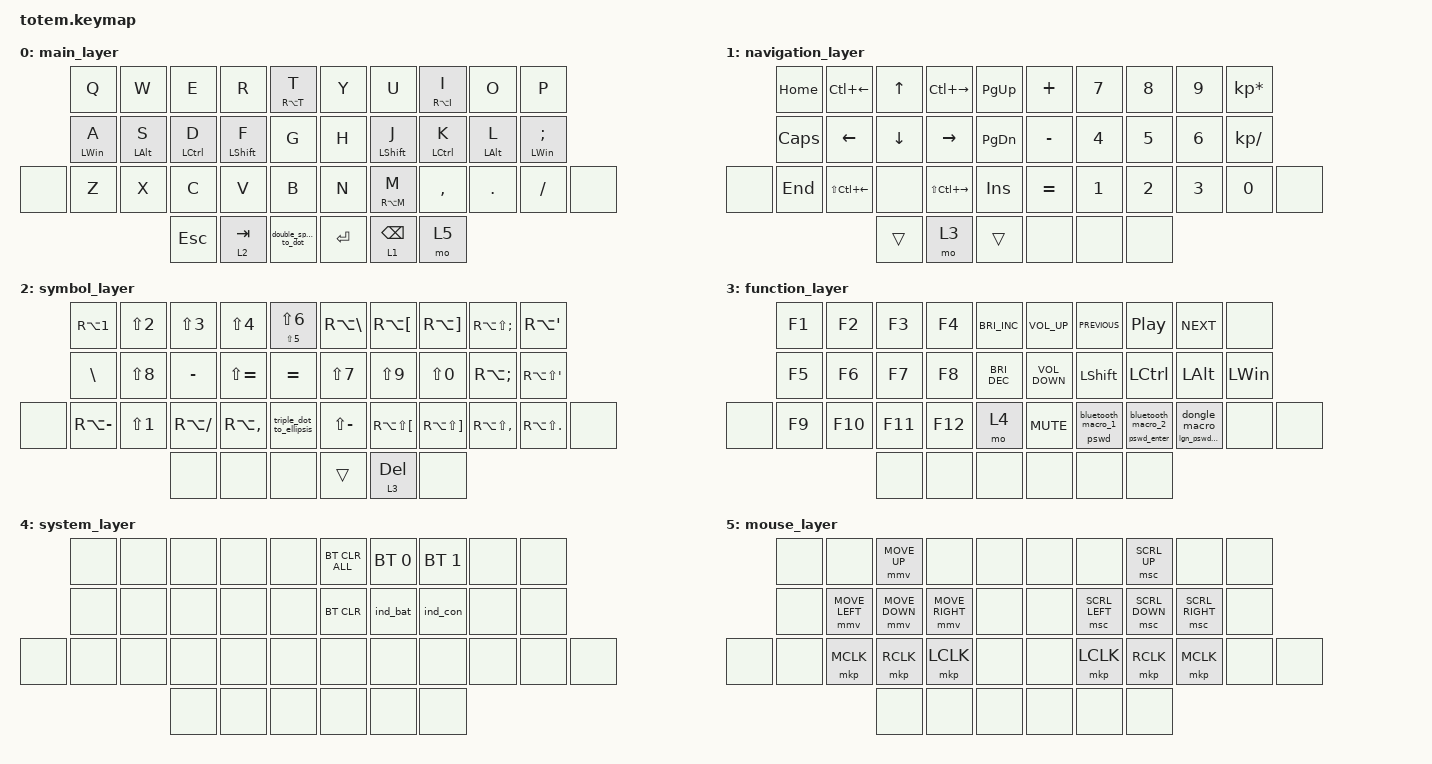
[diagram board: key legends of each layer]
#include <dt-bindings/zmk/mouse.h>
#include <behaviors/rgbled_widget.dtsi>
#include <behaviors.dtsi>
#include <dt-bindings/zmk/bt.h>
#include <dt-bindings/zmk/keys.h>
#include <dt-bindings/zmk/outputs.h>
#include <dt-bindings/zmk/pointing.h>

#define ZMK_POINTING_DEFAULT_MOVE_VAL 1000  // default: 600
#define ZMK_POINTING_DEFAULT_SCRL_VAL 20    // default: 10

/ {
    behaviors {
        ht: ht {
            compatible = "zmk,behavior-hold-tap";
            label = "HT";
            bindings = <&kp>, <&kp>;

            #binding-cells = <2>;
            tapping-term-ms = <300>;
            quick-tap-ms = <300>;
            require-prior-idle-ms = <100>;
            flavor = "tap-preferred";
        };

        ht_pswd: ht_pswd {
            compatible = "zmk,behavior-hold-tap";
            label = "HT_PSWD";
            bindings = <&pswd>, <&bluetooth_macro_1>;

            #binding-cells = <2>;
            flavor = "tap-preferred";
            tapping-term-ms = <300>;
            quick-tap-ms = <300>;
            require-prior-idle-ms = <100>;
        };

        ht_lgn_pswd_enter: ht_lgn_pswd_enter {
            compatible = "zmk,behavior-hold-tap";
            label = "HT_LGN_PSWD_ENTER";
            bindings = <&lgn_pswd_enter>, <&dongle_macro>;

            #binding-cells = <2>;
            flavor = "tap-preferred";
            tapping-term-ms = <300>;
            quick-tap-ms = <300>;
            require-prior-idle-ms = <100>;
        };

        triple_dot_to_ellipsis: triple_dot_to_ellipsis {
            compatible = "zmk,behavior-tap-dance";
            label = "TRIPLE_DOT_TO_ELLIPSIS";
            #binding-cells = <0>;
            bindings = <&kp RA(PERIOD)>, <&none>, <&kp RA(NUMBER_2)>;
        };

        double_space_to_dot: double_space_to_dot {
            compatible = "zmk,behavior-tap-dance";
            label = "DOUBLE_SPACE_TO_DOT";
            #binding-cells = <0>;
            bindings = <&kp SPACE>, <&kp RA(PERIOD)>;
        };

        backspace_to_navigation_layer: backspace_to_navigation_layer {
            compatible = "zmk,behavior-tap-dance";
            label = "BACKSPACE_TO_NAVIGATION_LAYER";
            #binding-cells = <0>;
            bindings = <&lt 1 BACKSPACE>, <&kp BACKSPACE>;
        };

        ht_pswd_enter: ht_pswd_enter {
            compatible = "zmk,behavior-hold-tap";
            label = "HT_PSWD_ENTER";
            bindings = <&pswd_enter>, <&bluetooth_macro_2>;

            #binding-cells = <2>;
            tapping-term-ms = <300>;
            quick-tap-ms = <100>;
            require-prior-idle-ms = <100>;
            flavor = "tap-preferred";
        };
    };

    macros {
        sleep_macro: sleep_macro {
            compatible = "zmk,behavior-macro";
            #binding-cells = <0>;
            bindings = <&kp LG(D) &kp LA(F4) &kp UP_ARROW &kp ENTER>;
            label = "SLEEP_MACRO";
            wait-ms = <350>;
        };

        dongle_macro: dongle_macro {
            compatible = "zmk,behavior-macro";
            #binding-cells = <0>;
            bindings = <&out OUT_USB>;
            label = "DONGLE_MACRO";
        };

        bluetooth_macro_1: bluetooth_macro_1 {
            compatible = "zmk,behavior-macro";
            #binding-cells = <0>;
            bindings = <&bt BT_SEL 0 &out OUT_BLE>;
            label = "BLUETOOTH_MACRO_1";
        };

        bluetooth_macro_2: bluetooth_macro_2 {
            compatible = "zmk,behavior-macro";
            #binding-cells = <0>;
            bindings = <&bt BT_SEL 1 &out OUT_BLE>;
            label = "BLUETOOTH_MACRO_2";
        };

        switch_language: switch_language {
            compatible = "zmk,behavior-macro";
            #binding-cells = <0>;
            bindings = <&kp LS(LEFT_ALT)>;
            label = "SWITCH_LANGUAGE";
        };

        pswd: pswd {
            compatible = "zmk,behavior-macro";
            #binding-cells = <0>;
            bindings = <&kp LS(G) &kp R &kp E &kp E &kp N &kp A &kp T &kp O &kp M &kp LS(G) &kp R &kp EXCL &kp G &kp O &kp R &kp Y &kp NUMBER_4>;
            label = "PSWD";
        };

        lgn_pswd_enter: lgn_pswd_enter {
            compatible = "zmk,behavior-macro";
            #binding-cells = <0>;
            bindings = <&kp LS(G) &kp LS(A) &kp LS(N) &kp A &kp D &kp O &kp L &kp I &kp N &kp S &kp K &kp Y &kp TAB &pswd_enter>;
            label = "LGN_PSWD_ENTER";
        };

        pswd_enter: pswd_enter {
            compatible = "zmk,behavior-macro";
            #binding-cells = <0>;
            bindings = <&pswd &kp ENTER>;
            label = "PSWD_ENTER";
        };
    };

    combos {
        compatible = "zmk,combos";

        changing_the_language {
            bindings = <&switch_language>;
            key-positions = <16 12 13 17>;
            layers = <0>;
        };

        bootloader_combo {
            bindings = <&bootloader>;
            key-positions = <6 7 8 9>;
            layers = <4>;
        };
    };

    keymap {
        compatible = "zmk,keymap";

        main_layer {
            bindings = <
       &kp Q           &kp W           &kp E        &kp R             &ht RA(T) T             &kp Y      &kp U             &ht RA(I) I  &kp O           &kp P
       &ht LEFT_WIN A  &ht LEFT_ALT S  &ht LCTRL D  &ht LEFT_SHIFT F  &kp G                   &kp H      &ht LEFT_SHIFT J  &ht LCTRL K  &ht LEFT_ALT L  &ht LEFT_WIN SEMICOLON
&none  &kp Z           &kp X           &kp C        &kp V             &kp B                   &kp N      &ht RA(M) M       &kp COMMA    &kp PERIOD      &kp SLASH               &none
                                       &kp ESCAPE   &lt 2 TAB         &double_space_to_dot    &kp ENTER  &lt 1 BACKSPACE   &mo 5
            >;
        };

        navigation_layer {
            bindings = <
       &kp HOME      &kp LC(LEFT)      &kp UP_ARROW    &kp LC(RIGHT)      &kp PAGE_UP      &kp PLUS   &kp NUMBER_7  &kp NUMBER_8  &kp NUMBER_9  &kp KP_MULTIPLY
       &kp CAPSLOCK  &kp LEFT_ARROW    &kp DOWN_ARROW  &kp RIGHT_ARROW    &kp PAGE_DOWN    &kp MINUS  &kp NUMBER_4  &kp N5        &kp NUMBER_6  &kp KP_DIVIDE
&none  &kp END       &kp LS(LC(LEFT))  &none           &kp LS(LC(RIGHT))  &kp INSERT       &kp EQUAL  &kp NUMBER_1  &kp NUMBER_2  &kp NUMBER_3  &kp NUMBER_0     &none
                                       &trans          &mo 3              &trans           &none      &none         &none
            >;
        };

        symbol_layer {
            bindings = <
       &kp RA(NUMBER_1)  &kp LS(NUMBER_2)  &kp LS(NUMBER_3)  &kp LS(NUMBER_4)  &ht LS(N5) LS(NUMBER_6)    &kp RA(BACKSLASH)  &kp RA(LEFT_BRACKET)      &kp RA(RIGHT_BRACKET)      &kp RA(LS(SEMICOLON))  &kp RA(SINGLE_QUOTE)
       &kp BACKSLASH     &kp LS(NUMBER_8)  &kp MINUS         &kp LS(EQUAL)     &kp EQUAL                  &kp LS(NUMBER_7)   &kp LS(NUMBER_9)          &kp LS(NUMBER_0)           &kp RA(SEMICOLON)      &kp RA(LS(APOSTROPHE))
&none  &kp RA(MINUS)     &kp LS(NUMBER_1)  &kp RA(SLASH)     &kp RA(COMMA)     &triple_dot_to_ellipsis    &kp LS(MINUS)      &kp RA(LS(LEFT_BRACKET))  &kp RA(LS(RIGHT_BRACKET))  &kp RA(LS(COMMA))      &kp RA(LS(PERIOD))      &none
                                           &none             &none             &none                      &trans             &lt 3 DELETE              &none
            >;
        };

        function_layer {
            bindings = <
       &kp F1  &kp F2   &kp F3   &kp F4   &kp C_BRIGHTNESS_INC    &kp C_VOLUME_UP    &kp C_PREVIOUS  &kp C_PLAY_PAUSE    &kp C_NEXT              &none
       &kp F5  &kp F6   &kp F7   &kp F8   &kp C_BRIGHTNESS_DEC    &kp C_VOLUME_DOWN  &kp LEFT_SHIFT  &kp LCTRL           &kp LEFT_ALT            &kp LEFT_WIN
&none  &kp F9  &kp F10  &kp F11  &kp F12  &mo 4                   &kp C_MUTE         &ht_pswd 0 0    &ht_pswd_enter 0 0  &ht_lgn_pswd_enter 0 0  &none         &none
                        &none    &none    &none                   &none              &none           &none
            >;
        };

        system_layer {
            bindings = <
       &none  &none  &none  &none  &none    &bt BT_CLR_ALL  &bt BT_SEL 0  &bt BT_SEL 1  &none  &none
       &none  &none  &none  &none  &none    &bt BT_CLR      &ind_bat      &ind_con      &none  &none
&none  &none  &none  &none  &none  &none    &none           &none         &none         &none  &none  &none
                     &none  &none  &none    &none           &none         &none
            >;
        };

        mouse_layer {
            bindings = <
       &none  &none           &mmv MOVE_UP    &none            &none    &none  &none           &msc SCRL_UP    &none            &none
       &none  &mmv MOVE_LEFT  &mmv MOVE_DOWN  &mmv MOVE_RIGHT  &none    &none  &msc SCRL_LEFT  &msc SCRL_DOWN  &msc SCRL_RIGHT  &none
&none  &none  &mkp MCLK       &mkp RCLK       &mkp LCLK        &none    &none  &mkp LCLK       &mkp RCLK       &mkp MCLK        &none  &none
                              &none           &none            &none    &none  &none           &none
            >;
        };
    };
};

&mmv {
    x-input-code = <INPUT_REL_X>;
    y-input-code = <INPUT_REL_Y>;
    time-to-max-speed-ms = <300>;
    acceleration-exponent = <3>;
};

&msc {
    x-input-code = <INPUT_REL_HWHEEL>;
    y-input-code = <INPUT_REL_WHEEL>;
    time-to-max-speed-ms = <1>;
    acceleration-exponent = <3>;
};
